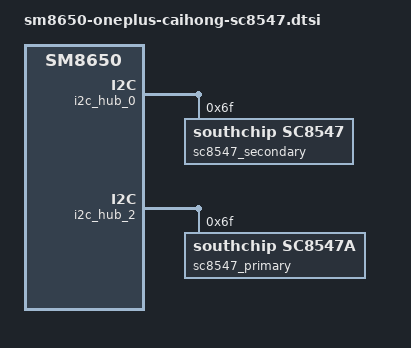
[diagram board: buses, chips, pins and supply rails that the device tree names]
// SPDX-License-Identifier: GPL-2.0-only
/* Frozen Stage 7D13 SC8547 experiment; not a production charging policy. */

&pmic_glink {
	oneplus,pps-read-buffer;
	oneplus,pps-fixed-5v;
	oneplus,pps-5v5-1a;
	oneplus,pps-ramp-9v-1a;
	oneplus,pps-ramp-9v2-1a;
	oneplus,pps-ramp-2to1-1a;
	oneplus,pps-run-2to1-5m;
	oneplus,pps-policy-2to1-1a;
	oneplus,pps-secondary-500ms;
	oneplus,pps-dual-500ms;
};

&i2c_hub_0 {
	sc8547_secondary: charger@6f {
		compatible = "southchip,sc8547";
		reg = <0x6f>;
		southchip,role = "secondary";
		southchip,allow-experimental-control;
		southchip,experimental-reg00 = <0x36>;
		southchip,experimental-reg02 = <0x01>;
		southchip,experimental-reg04 = <0x50>;
		southchip,experimental-reg05 = <0x1b>;
		southchip,allow-experimental-cp-pulse;
		southchip,experimental-vbus-min-uv = <7650000>;
		southchip,experimental-vbus-max-uv = <9400000>;
		southchip,experimental-start-delta-uv = <450000>;
		southchip,experimental-start-overshoot-max-uv = <200000>;
		southchip,experimental-start-reference-max-uv = <4350000>;
		southchip,experimental-pulse-vbus-min-uv = <7300000>;
		southchip,experimental-pulse-ratio-error-max-uv = <250000>;
		southchip,experimental-vbat-min-uv = <3600000>;
		southchip,experimental-vbat-max-uv = <4500000>;
		southchip,experimental-tdie-max-mc = <70000>;
	};
};

&i2c_hub_2 {
	sc8547_primary: charger@6f {
		compatible = "southchip,sc8547a";
		reg = <0x6f>;
		southchip,role = "primary";
		southchip,allow-experimental-control;
		southchip,experimental-reg00 = <0x36>;
		southchip,experimental-reg01 = <0xbf>;
		southchip,experimental-reg02 = <0x01>;
		southchip,experimental-reg04 = <0x50>;
		southchip,experimental-reg05 = <0x1b>;
		southchip,experimental-reg0d = <0x50>;
		southchip,allow-experimental-cp-pulse;
		southchip,experimental-vbus-min-uv = <7650000>;
		southchip,experimental-vbus-max-uv = <9400000>;
		southchip,experimental-start-delta-uv = <450000>;
		southchip,experimental-start-overshoot-max-uv = <200000>;
		southchip,experimental-pulse-vbus-min-uv = <7300000>;
		southchip,experimental-pulse-ratio-error-max-uv = <250000>;
		southchip,experimental-vbat-min-uv = <3600000>;
		southchip,experimental-vbat-max-uv = <4350000>;
		southchip,experimental-tdie-max-mc = <70000>;
	};
};
